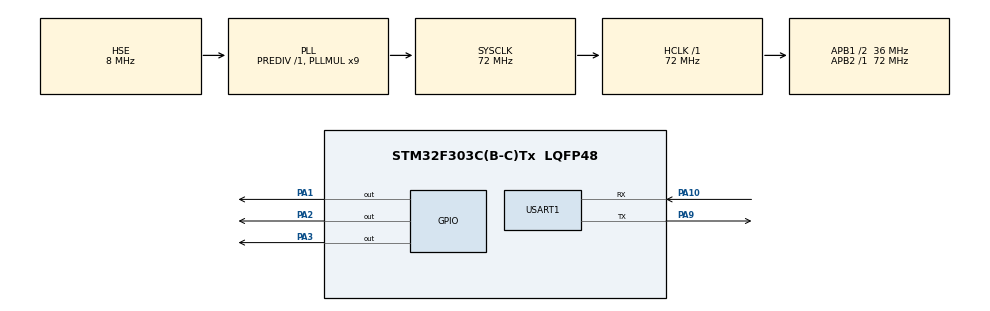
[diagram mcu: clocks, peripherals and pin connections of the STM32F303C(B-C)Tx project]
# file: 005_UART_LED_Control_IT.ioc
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Mcu.Family=STM32F3
Mcu.Name=STM32F303C(B-C)Tx
Mcu.Package=LQFP48
NVIC.PriorityGroup=NVIC_PRIORITYGROUP_4
NVIC.USART1_IRQn=true\:0\:0\:false\:false\:true\:true\:true\:true
PA1.Signal=GPIO_Output
PA10.Mode=Asynchronous
PA10.Signal=USART1_RX
PA2.Signal=GPIO_Output
PA3.Signal=GPIO_Output
PA9.Mode=Asynchronous
PA9.Signal=USART1_TX
PF0-OSC_IN.Mode=HSE-External-Oscillator
PF0-OSC_IN.Signal=RCC_OSC_IN
PF1-OSC_OUT.Mode=HSE-External-Oscillator
PF1-OSC_OUT.Signal=RCC_OSC_OUT
ProjectManager.HeapSize=0x200
ProjectManager.StackSize=0x400
ProjectManager.TargetToolchain=STM32CubeIDE
RCC.AHBFreq_Value=72000000
RCC.APB1CLKDivider=RCC_HCLK_DIV2
RCC.APB1Freq_Value=36000000
RCC.APB1TimFreq_Value=72000000
RCC.APB2Freq_Value=72000000
RCC.APB2TimFreq_Value=72000000
RCC.CortexFreq_Value=72000000
RCC.HCLKFreq_Value=72000000
RCC.HSE_VALUE=8000000
RCC.HSI_VALUE=8000000
RCC.LSE_VALUE=32768
RCC.PLLMUL=RCC_PLL_MUL9
RCC.PLLSourceVirtual=RCC_PLLSOURCE_HSE
RCC.SYSCLKFreq_VALUE=72000000
RCC.SYSCLKSourceVirtual=RCC_SYSCLKSOURCE_PLLCLK
RCC.USBFreq_Value=72000000
USART1.VirtualMode-Asynchronous=VM_ASYNC
board=custom

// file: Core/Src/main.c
/* USER CODE BEGIN Header */
/**
  ******************************************************************************
  * @file           : main.c
  * @brief          : Main program body
  ******************************************************************************
  * @attention
  *
  * Copyright (c) 2024 STMicroelectronics.
  * All rights reserved.
  *
  * This software is licensed under terms that can be found in the LICENSE file
  * in the root directory of this software component.
  * If no LICENSE file comes with this software, it is provided AS-IS.
  *
  ******************************************************************************
  */
/* USER CODE END Header */
#include "main.h"

/* USER CODE BEGIN Includes */
#include <stdio.h>
#include <stdlib.h>
#include <string.h>
#include <stdint.h>
#include "uart.h"
#include "queue.h"
#include "led.h"
/* USER CODE END Includes */

/* USER CODE BEGIN PD */
#define RX_BUFFER_SIZE 32
/* USER CODE END PD */

UART_HandleTypeDef huart1;

/* USER CODE BEGIN PV */
struct led_command_data commands[10];
uint8_t recvdcmd;
char rx_data[RX_BUFFER_SIZE];   // Buffer to store received data
uint8_t rx_index = 0;           // Index for received data buffer
uint32_t invalid_command_printed = 0;
struct Queue command_queue;
struct led_command_data commands[10];
struct led_command_data prev_cmd;
struct led_command_data command;
/* USER CODE END PV */

void SystemClock_Config(void);
static void MX_GPIO_Init(void);
static void MX_USART1_UART_Init(void);

int main(void)
{

  /* MCU Configuration--------------------------------------------------------*/

  /* Reset of all peripherals, Initializes the Flash interface and the Systick. */
  HAL_Init();

  /* USER CODE BEGIN Init */
  createQueue(&command_queue, 10, &commands[0]);
  /* USER CODE END Init */

  /* Configure the system clock */
  SystemClock_Config();

  /* Initialize all configured peripherals */
  MX_GPIO_Init();
  MX_USART1_UART_Init();
  /* USER CODE BEGIN 2 */
  display_menu(&huart1);
  /* USER CODE END 2 */

  /* Infinite loop */
  /* USER CODE BEGIN WHILE */
  HAL_UART_Receive_IT(&huart1, &recvdcmd, 1);
  while (1)
  {
    /* USER CODE END WHILE */

    /* USER CODE BEGIN 3 */
    process_command_queue();
  }
  /* USER CODE END 3 */
}

void SystemClock_Config(void)
{
  RCC_OscInitTypeDef RCC_OscInitStruct = {0};
  RCC_ClkInitTypeDef RCC_ClkInitStruct = {0};
  RCC_PeriphCLKInitTypeDef PeriphClkInit = {0};

  /** Initializes the RCC Oscillators according to the specified parameters
  * in the RCC_OscInitTypeDef structure.
  */
  RCC_OscInitStruct.OscillatorType = RCC_OSCILLATORTYPE_HSE;
  RCC_OscInitStruct.HSEState = RCC_HSE_ON;
  RCC_OscInitStruct.HSEPredivValue = RCC_HSE_PREDIV_DIV1;
  RCC_OscInitStruct.HSIState = RCC_HSI_ON;
  RCC_OscInitStruct.PLL.PLLState = RCC_PLL_ON;
  RCC_OscInitStruct.PLL.PLLSource = RCC_PLLSOURCE_HSE;
  RCC_OscInitStruct.PLL.PLLMUL = RCC_PLL_MUL9;
  if (HAL_RCC_OscConfig(&RCC_OscInitStruct) != HAL_OK)
  {
    Error_Handler();
  }

  /** Initializes the CPU, AHB and APB buses clocks
  */
  RCC_ClkInitStruct.ClockType = RCC_CLOCKTYPE_HCLK|RCC_CLOCKTYPE_SYSCLK
                              |RCC_CLOCKTYPE_PCLK1|RCC_CLOCKTYPE_PCLK2;
  RCC_ClkInitStruct.SYSCLKSource = RCC_SYSCLKSOURCE_PLLCLK;
  RCC_ClkInitStruct.AHBCLKDivider = RCC_SYSCLK_DIV1;
  RCC_ClkInitStruct.APB1CLKDivider = RCC_HCLK_DIV2;
  RCC_ClkInitStruct.APB2CLKDivider = RCC_HCLK_DIV1;

  if (HAL_RCC_ClockConfig(&RCC_ClkInitStruct, FLASH_LATENCY_2) != HAL_OK)
  {
    Error_Handler();
  }
  PeriphClkInit.PeriphClockSelection = RCC_PERIPHCLK_USART1;
  PeriphClkInit.Usart1ClockSelection = RCC_USART1CLKSOURCE_PCLK2;
  if (HAL_RCCEx_PeriphCLKConfig(&PeriphClkInit) != HAL_OK)
  {
    Error_Handler();
  }
}

static void MX_USART1_UART_Init(void)
{

  huart1.Instance = USART1;
  huart1.Init.BaudRate = 38400;
  huart1.Init.WordLength = UART_WORDLENGTH_8B;
  huart1.Init.StopBits = UART_STOPBITS_1;
  huart1.Init.Parity = UART_PARITY_NONE;
  huart1.Init.Mode = UART_MODE_TX_RX;
  huart1.Init.HwFlowCtl = UART_HWCONTROL_NONE;
  huart1.Init.OverSampling = UART_OVERSAMPLING_16;
  huart1.Init.OneBitSampling = UART_ONE_BIT_SAMPLE_DISABLE;
  huart1.AdvancedInit.AdvFeatureInit = UART_ADVFEATURE_NO_INIT;
  if (HAL_UART_Init(&huart1) != HAL_OK)
  {
    Error_Handler();
  }

}

static void MX_GPIO_Init(void)
{
  GPIO_InitTypeDef GPIO_InitStruct = {0};

  /* GPIO Ports Clock Enable */
  __HAL_RCC_GPIOF_CLK_ENABLE();
  __HAL_RCC_GPIOA_CLK_ENABLE();

  /*Configure GPIO pin Output Level */
  HAL_GPIO_WritePin(GPIOA, GPIO_PIN_1|GPIO_PIN_2|GPIO_PIN_3, GPIO_PIN_RESET);

  /*Configure GPIO pins : PA1 PA2 PA3 */
  GPIO_InitStruct.Pin = GPIO_PIN_1|GPIO_PIN_2|GPIO_PIN_3;
  GPIO_InitStruct.Mode = GPIO_MODE_OUTPUT_PP;
  GPIO_InitStruct.Pull = GPIO_NOPULL;
  GPIO_InitStruct.Speed = GPIO_SPEED_FREQ_LOW;
  HAL_GPIO_Init(GPIOA, &GPIO_InitStruct);

}

/* USER CODE BEGIN 4 */
/**
  * @brief  Rx Transfer completed callback.
  * @param  huart UART handle.
  * @retval None
  */
void HAL_UART_RxCpltCallback(UART_HandleTypeDef *huart1)
{
  if (recvdcmd == '\r') {
    rx_data[rx_index++]='\r';
    struct led_command_data data;

    sscanf((char *)rx_data, "%s %hu %hu", data.command, &data.argument, &data.delay) ;
    enqueue(&command_queue, data);
    memset(rx_data, 0, sizeof(rx_data));
    rx_index = 0;
  } else {
    rx_data[rx_index++] = recvdcmd;
  }
  HAL_UART_Receive_IT(huart1, &recvdcmd, 1);
}
/* USER CODE END 4 */

void Error_Handler(void)
{
  __disable_irq();
  while (1)
  {
  }
}
